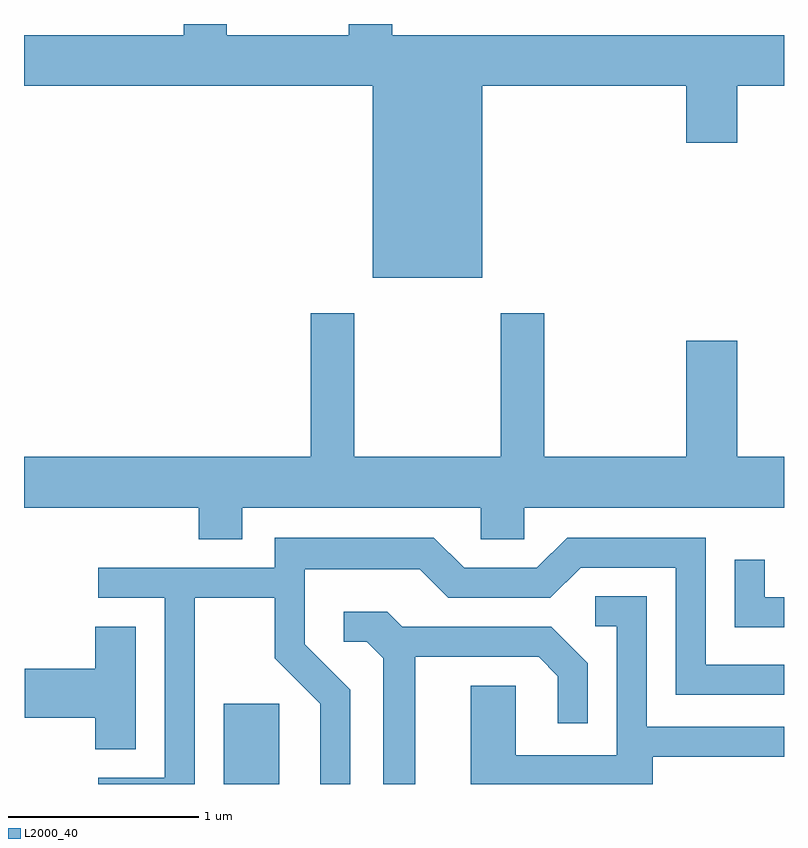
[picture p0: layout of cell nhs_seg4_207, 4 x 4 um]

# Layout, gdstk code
import gdstk
lib = gdstk.Library(unit=1e-6, precision=1e-09)
def R(c, l, rs):  # rectangles x0, y0, x1, y1
    for r in rs: c.add(gdstk.rectangle(r[:2], r[2:], *l))
def P(c, l, *ps):  # polygons
    for p in ps: c.add(gdstk.Polygon(p, *l))
L2000_40 = (2000, 40)

nhs_seg4_207 = lib.new_cell('nhs_seg4_207')
R(nhs_seg4_207, L2000_40, [(192.661,1259.982,192.954,1260.404)])
P(nhs_seg4_207, L2000_40, [(194.024,1263.656),(195.096,1263.656),(195.096,1263.356),(195.364,1263.356),(195.364,1263.656),(195.611,1263.656),(195.611,1263.924),(193.549,1263.924),(193.549,1263.982),(193.321,1263.982),(193.321,1263.924),(192.679,1263.924),(192.679,1263.982),(192.451,1263.982),(192.451,1263.924),(191.611,1263.924),(191.611,1263.656),(193.446,1263.656),(193.446,1262.646),(194.024,1262.646)],
  [(192.759,1261.436),(194.016,1261.436),(194.016,1261.271),(194.244,1261.271),(194.244,1261.436),(195.611,1261.436),(195.611,1261.704),(195.364,1261.704),(195.364,1262.314),(195.096,1262.314),(195.096,1261.704),(194.349,1261.704),(194.349,1262.459),(194.121,1262.459),(194.121,1261.704),(193.349,1261.704),(193.349,1262.459),(193.121,1262.459),(193.121,1261.704),(191.611,1261.704),(191.611,1261.436),(192.531,1261.436),(192.531,1261.271),(192.759,1261.271)],
  [(192.509,1260.961),(192.931,1260.961),(192.931,1260.644),(193.171,1260.404),(193.171,1259.982),(193.329,1259.982),(193.329,1260.477),(193.089,1260.717),(193.089,1261.111),(193.694,1261.111),(193.844,1260.961),(194.382,1260.961),(194.542,1261.121),(195.041,1261.121),(195.041,1260.451),(195.611,1260.451),(195.611,1260.609),(195.199,1260.609),(195.199,1261.279),(194.469,1261.279),(194.309,1261.119),(193.927,1261.119),(193.767,1261.279),(192.931,1261.279),(192.931,1261.119),(192.003,1261.119),(192.003,1260.961),(192.351,1260.961),(192.351,1260.014),(192.003,1260.014),(192.003,1259.982),(192.509,1259.982)],
  [(195.611,1260.964),(195.509,1260.964),(195.509,1261.163),(195.351,1261.163),(195.351,1260.806),(195.611,1260.806)],
  [(194.919,1260.126),(195.611,1260.126),(195.611,1260.284),(194.889,1260.284),(194.889,1260.969),(194.618,1260.969),(194.618,1260.811),(194.731,1260.811),(194.731,1260.134),(194.199,1260.134),(194.199,1260.499),(193.961,1260.499),(193.961,1259.982),(194.919,1259.982)],
  [(193.669,1260.651),(194.319,1260.651),(194.421,1260.549),(194.421,1260.303),(194.579,1260.303),(194.579,1260.617),(194.387,1260.809),(193.602,1260.809),(193.522,1260.889),(193.293,1260.889),(193.293,1260.731),(193.414,1260.731),(193.501,1260.644),(193.501,1259.982),(193.669,1259.982)],
  [(192.199,1260.809),(191.986,1260.809),(191.986,1260.589),(191.616,1260.589),(191.616,1260.331),(191.986,1260.331),(191.986,1260.166),(192.199,1260.166)])

lib.write_gds('nhs_seg4_207.gds')
